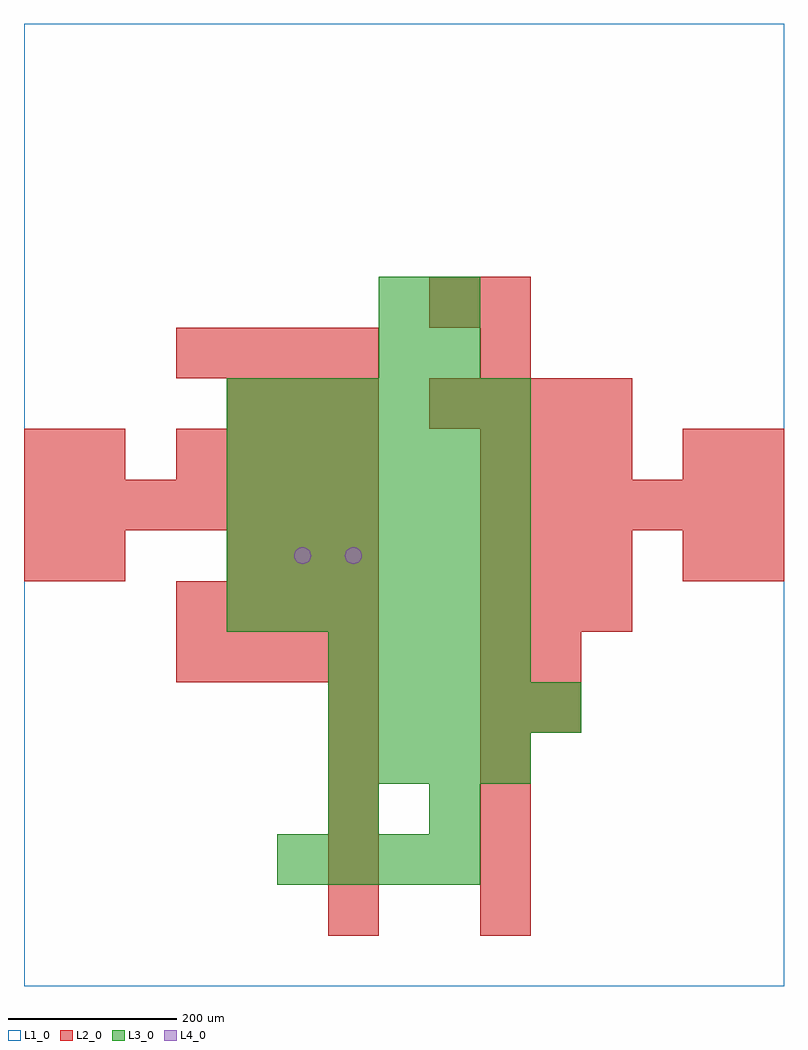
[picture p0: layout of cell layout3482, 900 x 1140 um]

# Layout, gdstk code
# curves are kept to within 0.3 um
import gdstk
lib = gdstk.Library(unit=1e-6, precision=1e-09)
def R(c, l, rs):  # rectangles x0, y0, x1, y1
    for r in rs: c.add(gdstk.rectangle(r[:2], r[2:], *l))
def A(c, l, x, y, w, h, nx, ny, dx, dy):  # array of equal rectangles
    R(c, l, [(x+i*dx, y+j*dy, x+i*dx+w, y+j*dy+h) for i in range(nx) for j in range(ny)])
def P(c, l, *ps):  # polygons
    for p in ps: c.add(gdstk.Polygon(p, *l))
L1_0 = (1, 0)
L2_0 = (2, 0)
L3_0 = (3, 0)
L4_0 = (4, 0)

layout3482 = lib.new_cell('layout3482')
R(layout3482, L1_0, [(0,0,900,1140)])
A(layout3482, L2_0, 360, 60, 60, 60, 1, 5, 0, 60)
A(layout3482, L2_0, 540, 60, 60, 60, 1, 6, 0, 60)
A(layout3482, L2_0, 180, 360, 60, 60, 4, 2, 60, 60)
A(layout3482, L2_0, 540, 420, 60, 60, 3, 2, 60, 60)
A(layout3482, L2_0, 240, 480, 60, 60, 3, 2, 60, 180)
A(layout3482, L2_0, 0, 540, 60, 60, 7, 1, 60, 0)
A(layout3482, L2_0, 540, 540, 60, 60, 6, 1, 60, 0)
A(layout3482, L2_0, 180, 600, 60, 60, 4, 2, 60, 120)
A(layout3482, L2_0, 540, 600, 60, 60, 3, 1, 60, 0)
A(layout3482, L2_0, 480, 660, 60, 60, 4, 1, 60, 0)
R(layout3482, L2_0, [(600,300,660,360), (600,360,660,420), (0,480,60,540), (60,480,120,540), (780,480,840,540), (840,480,900,540), (0,600,60,660), (60,600,120,660), (780,600,840,660), (840,600,900,660), (540,720,600,780), (480,780,540,840), (540,780,600,840)])
A(layout3482, L3_0, 300, 120, 60, 60, 4, 1, 60, 0)
A(layout3482, L3_0, 360, 240, 60, 60, 4, 2, 60, 120)
A(layout3482, L3_0, 360, 300, 60, 60, 5, 1, 60, 0)
A(layout3482, L3_0, 240, 420, 60, 60, 6, 5, 60, 60)
R(layout3482, L3_0, [(360,180,420,240), (480,180,540,240), (420,720,480,780), (480,720,540,780), (420,780,480,840), (480,780,540,840)])
P(layout3482, L4_0, [(340,510),(339.239,513.827),(337.071,517.071),(333.827,519.239),(330,520),(326.173,519.239),(322.929,517.071),(320.761,513.827),(320,510),(320.761,506.173),(322.929,502.929),(326.173,500.761),(330,500),(333.827,500.761),(337.071,502.929),(339.239,506.173)],
  [(400,510),(399.239,513.827),(397.071,517.071),(393.827,519.239),(390,520),(386.173,519.239),(382.929,517.071),(380.761,513.827),(380,510),(380.761,506.173),(382.929,502.929),(386.173,500.761),(390,500),(393.827,500.761),(397.071,502.929),(399.239,506.173)])

lib.write_gds('layout3482.gds')
